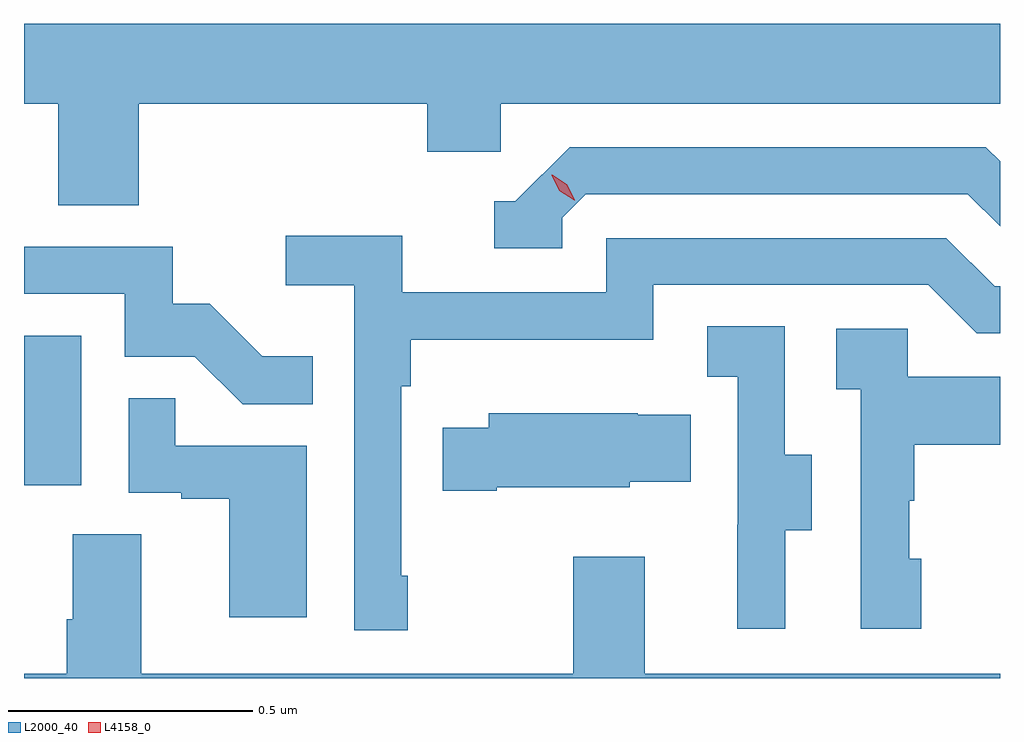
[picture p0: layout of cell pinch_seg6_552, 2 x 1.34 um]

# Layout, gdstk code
import gdstk
lib = gdstk.Library(unit=1e-6, precision=1e-09)
def R(c, l, rs):  # rectangles x0, y0, x1, y1
    for r in rs: c.add(gdstk.rectangle(r[:2], r[2:], *l))
def P(c, l, *ps):  # polygons
    for p in ps: c.add(gdstk.Polygon(p, *l))
L2000_40 = (2000, 40)
L4158_0 = (4158, 0)

pinch_seg6_552 = lib.new_cell('pinch_seg6_552')
R(pinch_seg6_552, L2000_40, [(830.923,915.918,831.04,916.225)])
P(pinch_seg6_552, L2000_40, [(831.158,916.7),(831.749,916.7),(831.749,916.602),(831.9,916.602),(831.9,916.7),(832.923,916.7),(832.923,916.864),(830.923,916.864),(830.923,916.7),(830.993,916.7),(830.993,916.492),(831.158,916.492)],
  [(832.026,916.467),(832.074,916.515),(832.857,916.515),(832.923,916.449),(832.923,916.582),(832.894,916.611),(832.041,916.611),(831.93,916.5),(831.887,916.5),(831.887,916.404),(832.026,916.404)],
  [(831.709,915.733),(831.696,915.733),(831.696,916.121),(831.716,916.121),(831.716,916.217),(832.212,916.217),(832.212,916.329),(832.776,916.329),(832.875,916.23),(832.923,916.23),(832.923,916.326),(832.912,916.326),(832.813,916.425),(832.116,916.425),(832.116,916.314),(831.698,916.314),(831.698,916.43),(831.459,916.43),(831.459,916.328),(831.6,916.328),(831.6,915.621),(831.709,915.621)],
  [(831.515,916.183),(831.411,916.183),(831.304,916.29),(831.228,916.29),(831.228,916.407),(830.923,916.407),(830.923,916.311),(831.129,916.311),(831.129,916.182),(831.273,916.182),(831.371,916.084),(831.515,916.084)],
  [(832.483,915.826),(832.537,915.826),(832.537,915.981),(832.482,915.981),(832.482,916.244),(832.323,916.244),(832.323,916.141),(832.386,916.141),(832.386,915.837),(832.385,915.837),(832.385,915.624),(832.483,915.624)],
  [(832.762,915.768),(832.737,915.768),(832.737,915.887),(832.747,915.887),(832.747,916.001),(832.923,916.001),(832.923,916.141),(832.734,916.141),(832.734,916.239),(832.587,916.239),(832.587,916.115),(832.638,916.115),(832.638,915.624),(832.762,915.624)],
  [(831.502,915.999),(831.233,915.999),(831.233,916.097),(831.138,916.097),(831.138,915.903),(831.245,915.903),(831.245,915.891),(831.344,915.891),(831.344,915.648),(831.502,915.648)],
  [(831.892,915.914),(832.164,915.914),(832.164,915.926),(832.289,915.926),(832.289,916.063),(832.181,916.063),(832.181,916.066),(831.875,916.066),(831.875,916.036),(831.781,916.036),(831.781,915.907),(831.892,915.907)],
  [(832.923,915.532),(832.195,915.532),(832.195,915.772),(832.048,915.772),(832.048,915.532),(831.163,915.532),(831.163,915.818),(831.023,915.818),(831.023,915.644),(831.011,915.644),(831.011,915.532),(830.923,915.532),(830.923,915.523),(832.923,915.523)])
P(pinch_seg6_552, L4158_0, [(832.051,916.502),(832.02,916.522),(832.004,916.554),(832.004,916.555),(832.005,916.555),(832.035,916.535),(832.052,916.503),(832.052,916.502)])

lib.write_gds('pinch_seg6_552.gds')
